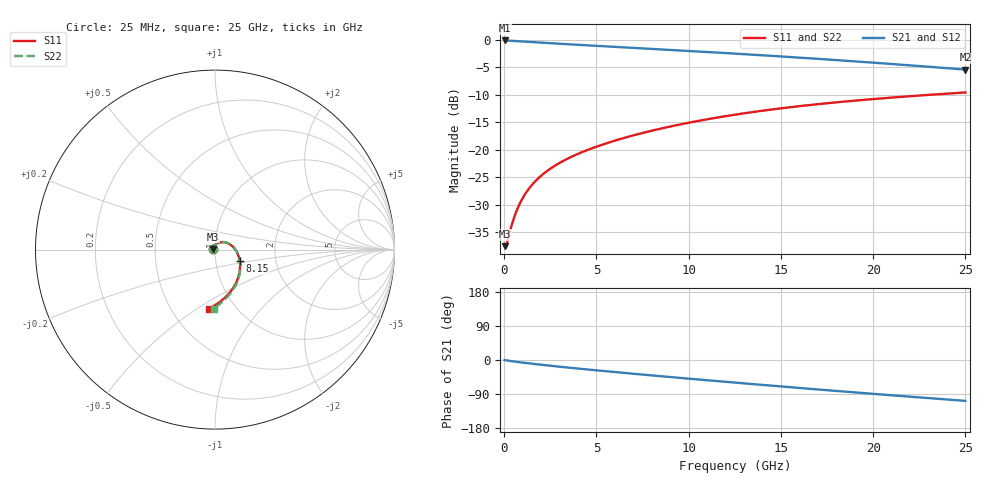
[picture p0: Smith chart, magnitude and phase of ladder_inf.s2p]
! R_s4_rect_cap5: kisi's ladder, infinite plates (Finite board 24 × 16 mm, via L1 → L4, a capacitor between the planes 5 mm away, no return via)
# Hz S RI R 50
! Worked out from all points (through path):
!   1000 points, 25 MHz to 25 GHz, reference 50 ohm
!   highest |S21| = -0.12 dB at 25 MHz (marker M1); lowest = -5.4 dB at 25 GHz (marker M2)
!   group delay of S21, straight-line fit = 11.6 ps
!   lowest |S11| = -37.5 dB at 50 MHz (marker M3), VSWR 1.03, Z = 48.7 + j0.345 ohm
!   |S11| at or under -10 dB: start of sweep to 23.08 GHz
!   |S22| runs from -37.5 to -9.6 dB; largest |S21 - S12| = 0
!   S11 on the Smith chart (normalised r, x): 25 MHz: 0.97, +0.00; 8.15 GHz: 1.31, -0.17; 25 GHz: 0.76, -0.56
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2.5e7  -0.0132 0.0019  0.9862 -0.00394  0.9862 -0.00394  -0.0132 0.0019
5e7  -0.0128 0.00354  0.9858 -0.0076  0.9858 -0.0076  -0.0128 0.00353
1.75e8  -0.0104 0.0104  0.9833 -0.0246  0.9833 -0.0246  -0.0104 0.0104
5e8  -0.00201 0.0228  0.9742 -0.0635  0.9742 -0.0635  -0.00206 0.0228
7.5e8  0.00498 0.0293  0.9661 -0.0903  0.9661 -0.0903  0.00489 0.0293
1.075e9  0.0142 0.0353  0.9549 -0.1226  0.9549 -0.1226  0.0141 0.0354
1.45e9  0.0249 0.0395  0.9411 -0.1571  0.9411 -0.1571  0.0246 0.0396
1.95e9  0.0388 0.0418  0.9215 -0.1997  0.9215 -0.1997  0.0384 0.0421
2.55e9  0.0546 0.0407  0.8966 -0.2466  0.8966 -0.2466  0.0541 0.0413
3.3e9  0.0729 0.0349  0.8636 -0.3  0.8636 -0.3  0.0722 0.0359
4.2e9  0.092 0.023  0.8219 -0.3575  0.8219 -0.3575  0.0913 0.0245
5.975e9  0.1202 -0.011  0.7339 -0.4533  0.7339 -0.4533  0.1197 -0.00803
8.15e9  0.1377 -0.0624  0.6189 -0.5438  0.6189 -0.5438  0.1383 -0.0575
8.35e9  0.1384 -0.0673  0.608 -0.5507  0.608 -0.5507  0.1392 -0.0623
1.0425e10  0.138 -0.1184  0.4936 -0.6097  0.4936 -0.6097  0.1408 -0.1119
1.2525e10  0.1254 -0.1669  0.3771 -0.6465  0.3771 -0.6465  0.131 -0.1594
1.455e10  0.105 -0.208  0.2675 -0.6616  0.2675 -0.6616  0.1138 -0.2002
1.6675e10  0.0783 -0.2442  0.1586 -0.6582  0.1586 -0.6582  0.0906 -0.2368
1.8675e10  0.0508 -0.272  0.0643 -0.6394  0.0643 -0.6394  0.0664 -0.2656
2.085e10  0.0205 -0.2962  -0.027 -0.6048  -0.027 -0.6048  0.0397 -0.2915
2.3e10  -0.00851 -0.3155  -0.1043 -0.5594  -0.1043 -0.5594  0.0141 -0.3129
2.5e10  -0.034 -0.3304  -0.1641 -0.5102  -0.1641 -0.5102  -0.00834 -0.33
